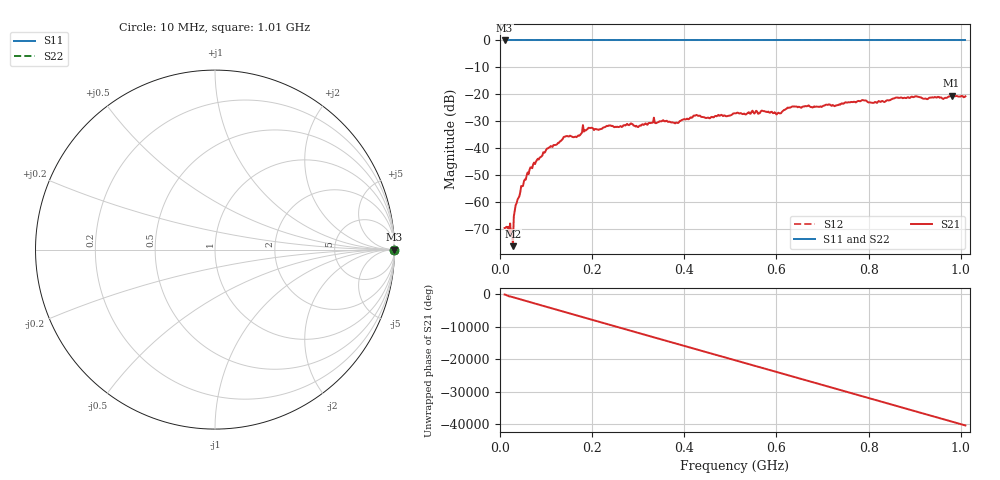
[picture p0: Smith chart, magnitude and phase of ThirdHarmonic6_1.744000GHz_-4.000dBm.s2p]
! 8/16/2025 9:01:30 PM
! C:\ANRITSUVNA\TEMP\TEMP.S2P
! CHANNEL.1
! TR.MEASUREMENT
! RAW.DATA
! RF.CORRECTION.OFF
! AVERAGING.OFF
! IF.BANDWIDTH: 5KHZ
! SWEEPTYPE:  FREQ.SWEEP(Linear)
! Reference Plane Port Info
! PORT:  PORT1  PORT2
! DISTANCE:  0  m  0  m
! TIME:  0  s  0  s
! PHASE.OFFSET:  0  deg.  0  deg.
! LOSS:  0  dB  0  dB
! REF.LOSS:  0  dB  0  dB
! REF.FREQ:  0  Hz  0  Hz
! Power Info
! POWER:  -20  dBm  -20  dBm
! EFF.POWER:  -20  dBm  -20  dBm
! SOURCE.ATTEN:  0  dB  0  dB
! TEST.ATTEN:  0  dB  0  dB
# GHZ S RI R 50.0
! FREQ.GHZ  S11RE  S11IM  S21RE  S21IM  S12RE  S12IM  S22RE  S22IM
!; PortSelection: Port_12
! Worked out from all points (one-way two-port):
!   501 points, 10 MHz to 1.01 GHz, reference 50 ohm
!   highest |S21| = -20.42 dB at 980 MHz (marker M1); lowest = -76.3 dB at 28 MHz (marker M2)
!   lowest |S11| = 0.0 dB at 10 MHz (marker M3)
!   |S11| at or under -10 dB: nowhere
!   |S22| runs from 0.0 to 0.0 dB; largest |S21 - S12| = 1.1
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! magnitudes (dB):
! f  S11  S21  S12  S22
! 10 MHz  0.0  -69.5  0.0  0.0
! 18 MHz  0.0  -69.1  0.0  0.0
! 24 MHz  0.0  -72.4  0.0  0.0
! 28 MHz  0.0  -76.3  0.0  0.0
! 34 MHz  0.0  -61.0  0.0  0.0
! 42 MHz  0.0  -57.8  0.0  0.0
! 70 MHz  0.0  -47.3  0.0  0.0
! 106 MHz  0.0  -39.7  0.0  0.0
! 142 MHz  0.0  -35.6  0.0  0.0
! 164 MHz  0.0  -35.6  0.0  0.0
! 178 MHz  0.0  -34.1  0.0  0.0
! 344 MHz  0.0  -30.3  0.0  0.0
! 384 MHz  0.0  -30.5  0.0  0.0
! 424 MHz  0.0  -27.9  0.0  0.0
! 452 MHz  0.0  -28.6  0.0  0.0
! 510 MHz  0.0  -27.0  0.0  0.0
! 604 MHz  0.0  -26.8  0.0  0.0
! 636 MHz  0.0  -24.4  0.0  0.0
! 678 MHz  0.0  -24.9  0.0  0.0
! 844 MHz  0.0  -22.2  0.0  0.0
! 980 MHz  0.0  -20.4  0.0  0.0
! 1.01 GHz  0.0  -20.7  0.0  0.0
